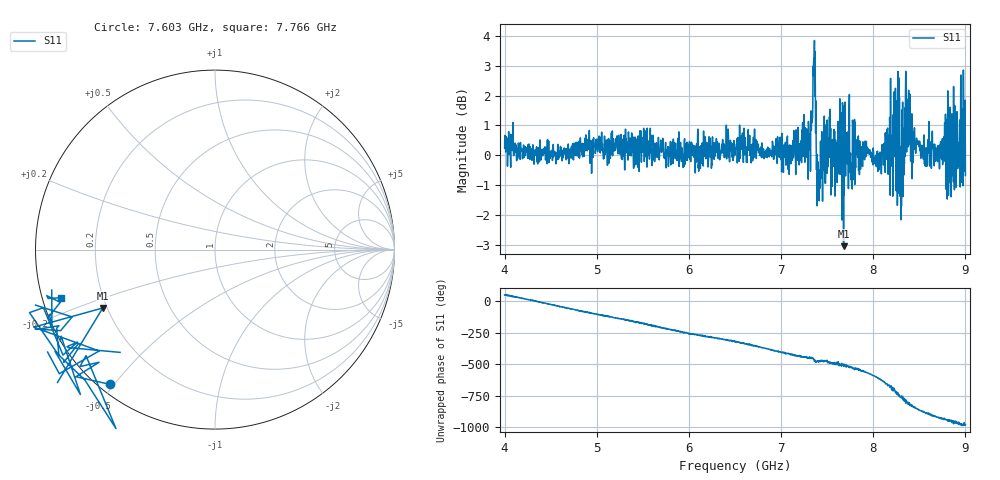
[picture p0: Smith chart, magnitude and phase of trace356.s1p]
! Created with skrf 1.8.0 (http://scikit-rf.org).
# Hz S RI R 50.0
!freq ReS11 ImS11
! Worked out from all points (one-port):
!   1601 points, 4 GHz to 9 GHz, reference 50 ohm
!   lowest |S11| = -3.0 dB at 7.678 GHz (marker M1), VSWR 5.78, Z = 9.16 - j11.8 ohm
!   |S11| at or under -10 dB: nowhere
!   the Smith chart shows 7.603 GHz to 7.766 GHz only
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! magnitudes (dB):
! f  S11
! 4 GHz  0.3
! 4.625 GHz  -0.2
! 5.25 GHz  0.0
! 5.875 GHz  0.4
! 6.5 GHz  0.0
! 7.125 GHz  0.1
! 7.294 GHz  -0.8
! 7.319 GHz  -0.5
! 7.347 GHz  3.0
! 7.372 GHz  2.2
! 7.397 GHz  -0.5
! 7.409 GHz  -1.2
! 7.512 GHz  0.4
! 7.591 GHz  0.5
! 7.65 GHz  1.2
! 7.678 GHz  -3.0
! 7.75 GHz  -0.1
! 8.066 GHz  0.0
! 8.262 GHz  -1.7
! 8.312 GHz  1.5
! 8.334 GHz  0.1
! 8.375 GHz  1.4
! 8.431 GHz  -0.2
! 8.556 GHz  -0.3
! 8.788 GHz  -0.2
! 8.841 GHz  0.9
! 8.972 GHz  0.9
! 9 GHz  -0.7
